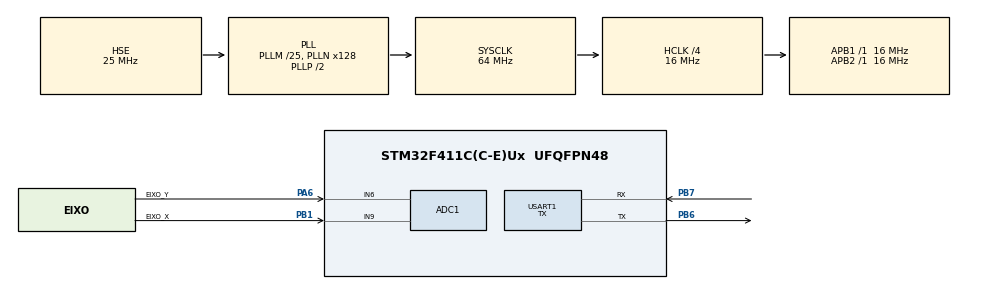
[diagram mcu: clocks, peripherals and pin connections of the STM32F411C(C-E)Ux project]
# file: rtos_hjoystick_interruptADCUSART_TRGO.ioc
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ADC1.Channel-0\#ChannelRegularConversion=ADC_CHANNEL_9
ADC1.Channel-1\#ChannelRegularConversion=ADC_CHANNEL_6
ADC1.ExternalTrigConv=ADC_EXTERNALTRIGCONV_T3_TRGO
ADC1.NbrOfConversion=2
ADC1.NbrOfConversionFlag=1
ADC1.Rank-0\#ChannelRegularConversion=1
ADC1.Rank-1\#ChannelRegularConversion=2
ADC1.SamplingTime-0\#ChannelRegularConversion=ADC_SAMPLETIME_112CYCLES
ADC1.SamplingTime-1\#ChannelRegularConversion=ADC_SAMPLETIME_112CYCLES
ADC1.master=1
FREERTOS.Events01=adcEvent,Dynamic,NULL;usartEvent,Dynamic,NULL
FREERTOS.Queues01=sampleQueue,16,SamplePair_t,0,Dynamic,NULL,NULL
FREERTOS.Tasks01=adcTask,24,128,AdcTask,Default,NULL,Dynamic,NULL,NULL;usartTask,8,128,UsartTask,Default,NULL,Dynamic,NULL,NULL
FREERTOS.configUSE_NEWLIB_REENTRANT=1
Mcu.Family=STM32F4
Mcu.Name=STM32F411C(C-E)Ux
Mcu.Package=UFQFPN48
NVIC.ADC_IRQn=true\:5\:0\:false\:false\:true\:true\:true\:true\:true
NVIC.PriorityGroup=NVIC_PRIORITYGROUP_4
NVIC.TIM2_IRQn=true\:15\:0\:false\:false\:true\:false\:false\:true\:true
NVIC.TimeBase=TIM2_IRQn
NVIC.TimeBaseIP=TIM2
NVIC.USART1_IRQn=true\:5\:0\:false\:false\:true\:true\:true\:true\:true
PA13.Mode=Serial_Wire
PA13.Signal=SYS_JTMS-SWDIO
PA14.Mode=Serial_Wire
PA14.Signal=SYS_JTCK-SWCLK
PA6.GPIO_Label=EIXO_Y
PA6.Signal=ADCx_IN6
PB1.GPIO_Label=EIXO_X
PB1.Signal=ADCx_IN9
PB6.Mode=Asynchronous
PB6.Signal=USART1_TX
PB7.Mode=Asynchronous
PB7.Signal=USART1_RX
PH0\ -\ OSC_IN.Mode=HSE-External-Oscillator
PH0\ -\ OSC_IN.Signal=RCC_OSC_IN
PH1\ -\ OSC_OUT.Mode=HSE-External-Oscillator
PH1\ -\ OSC_OUT.Signal=RCC_OSC_OUT
ProjectManager.HeapSize=0x200
ProjectManager.StackSize=0x400
ProjectManager.TargetToolchain=STM32CubeIDE
RCC.48MHZClocksFreq_Value=32000000
RCC.AHBCLKDivider=RCC_SYSCLK_DIV4
RCC.AHBFreq_Value=16000000
RCC.APB1Freq_Value=16000000
RCC.APB1TimFreq_Value=16000000
RCC.APB2Freq_Value=16000000
RCC.APB2TimFreq_Value=16000000
RCC.CortexFreq_Value=16000000
RCC.HCLKFreq_Value=16000000
RCC.HSE_VALUE=25000000
RCC.HSI_VALUE=16000000
RCC.LSE_VALUE=32768
RCC.PLLM=25
RCC.PLLN=128
RCC.PLLSourceVirtual=RCC_PLLSOURCE_HSE
RCC.SYSCLKFreq_VALUE=64000000
RCC.SYSCLKSource=RCC_SYSCLKSOURCE_PLLCLK
RCC.VCOOutputFreq_Value=128000000
SH.ADCx_IN6.0=ADC1_IN6,IN6
SH.ADCx_IN9.0=ADC1_IN9,IN9
TIM3.Period=99
TIM3.Prescaler=15999
TIM3.TIM_MasterOutputTrigger=TIM_TRGO_UPDATE
USART1.Mode=MODE_TX
USART1.VirtualMode=VM_ASYNC
VP_FREERTOS_VS_CMSIS_V2.Mode=CMSIS_V2
VP_SYS_VS_tim2.Mode=TIM2
VP_TIM3_VS_ClockSourceINT.Mode=Internal
board=custom

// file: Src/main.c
/* USER CODE BEGIN Header */
/**
  ******************************************************************************
  * @file           : main.c
  * @brief          : Este projeto é uma versão RTOS do hjoystick_interruptADCUSART_TRGO.
  * 				Arquivo principal da aplicação embarcada baseada em FreeRTOS
  * 				com aquisição ADC e comunicação UART.
  * @author			: Wu Shin Ting
  * @date			: 20/03/2026
  ******************************************************************************
  * @attention
  *
  * Copyright (c) 2026 STMicroelectronics.
  * All rights reserved.
  *
  * This software is licensed under terms that can be found in the LICENSE file
  * in the root directory of this software component.
  * If no LICENSE file comes with this software, it is provided AS-IS.
  *
  ******************************************************************************
  * @section overview Visão Geral
  *
  * Este projeto implementa um sistema embarcado baseado em RTOS para aquisição periódica
  * de sinais analógicos utilizando o ADC, seguido de processamento e transmissão dos dados via USART.
  *
  * A arquitetura é baseada no modelo produtor-consumidor:
  * - O ADC (via interrupção) atua como produtor de dados
  * - Uma task RTOS processa e encaminha os dados para uma fila
  * - Outra task consome os dados e realiza a transmissão via UART
  *
  * O sistema utiliza interrupções e comunicação assíncrona para garantir eficiência,
  * evitando bloqueios e reduzindo uso de CPU.
  *
  * @section user_code Código Implementado Manualmente
  *
  * As principais partes implementadas manualmente incluem:
  *
  * - Callback de conversão ADC (@c HAL_ADC_ConvCpltCallback):
  *   - Alterna dinamicamente entre os canais 6 e 9
  *   - Armazena amostras
  *   - Sinaliza eventos para sincronização com tasks
  *
  * - Callback de transmissão UART (@c HAL_UART_TxCpltCallback):
  *   - Indica término de envio
  *   - Libera fluxo para nova transmissão
  *
  * - Tasks do FreeRTOS:
  *   - @c AdcTask:
  *     - Inicializa ADC e TIM3
  *     - Aguarda evento de conversão
  *     - Envia amostras para fila
  *
  *   - @c UsartTask:
  *     - Consome dados da fila
  *     - Converte valores em representação ASCII (barra)
  *     - Realiza transmissão não bloqueante via UART
  *
  * - Mecanismos de sincronização:
  *   - Event Flags para ADC e UART
  *   - Fila RTOS para comunicação entre tasks
  *
  * @section mental_model Modelo Mental do Sistema
  *
  * O sistema pode ser entendido como um pipeline reativo orientado a eventos:
  *
  * @code
  *        TIM3 (hardware trigger)
  *                 │
  *                 ▼
  *         ADC (scan 2 canais)
  *                 │
  *                 ▼
  *     Interrupt (EOC - cada conversão)
  *                 │
  *                 ▼
  *   HAL_ADC_ConvCpltCallback (ISR)
  *       ├── Alterna canal (6 ↔ 9)
  *       ├── Armazena amostra parcial
  *       └── Sinaliza evento (quando necessário)
  *                 │
  *                 ▼
  *            AdcTask
  *       ├── Lê amostra completa
  *       └── Envia para fila
  *                 │
  *                 ▼
  *           sampleQueue
  *                 │
  *                 ▼
  *           UsartTask
  *       ├── Formata dados (ASCII bar)
  *       └── Transmite via UART (IT)
  *                 │
  *                 ▼
  *   HAL_UART_TxCpltCallback (ISR)
  *       └── Libera próxima transmissão
  * @endcode
  *
  * Características importantes:
  * - Totalmente não bloqueante
  * - Orientado a interrupções
  * - Separação clara entre aquisição e comunicação
  *
  * @section cube_config Configuração no CubeMX
  *
  * A configuração do sistema foi realizada utilizando o STM32CubeMX com os seguintes pontos:
  *
  * - ADC:
  *   - Modo scan habilitado
  *   - Conversão de 2 canais:
  *     - IN6 (ex: eixo Y)
  *     - IN9 (ex: eixo X)
  *   - Interrupção de fim de conversão (EOC) habilitada para cada conversão individual
  *
  * - Trigger:
  *   - Disparo externo por hardware via TIM3 (TRGO)
  *   - Conversões ocorrem periodicamente sem intervenção da CPU
  *
  * - Inicialização:
  *   - O ADC é iniciado apenas uma vez com:
  *     @code
  *     HAL_ADC_Start_IT(&hadc1);
  *     @endcode
  *
  *   - Após isso, o TIM3 controla continuamente o início das conversões
  *
  * - Timer (TIM3):
  *   - Configurado como fonte de trigger do ADC
  *   - Define a frequência de amostragem do sistema
  *
  * - UART:
  *   - Operando em modo interrupção (@c HAL_UART_Transmit_IT)
  *
  *
  * @note
  * - O uso de interrupções e RTOS permite alta eficiência e escalabilidade
  * - O sistema evita polling e bloqueios ativos
  *
  * @warning
  * - Código em callbacks deve ser rápido (executa em contexto de interrupção)
  * - A sincronização entre tasks depende corretamente das event flags
  */
/* USER CODE END Header */
#include "main.h"
#include "cmsis_os.h"
#include "adc.h"
#include "tim.h"
#include "usart.h"
#include "gpio.h"

/* USER CODE BEGIN PV */
SamplePair_t amostra;		/**< par de sinais (x,y) amostrados por ADC */
volatile uint8_t adc_channel = 9;  /**< Canal ADC atualmente em conversão (começa com PB1) */
/* USER CODE END PV */

void SystemClock_Config(void);
void MX_FREERTOS_Init(void);
/* USER CODE BEGIN PFP */
void setaAdcEventFlag ();   /**< seta flag de adcEvent */
void setaUsartEventFlag (); /**< seta flag de usartEvent */
void le_amostras();         /**< le par de sinais amostrados nos canais IN9 e IN6 */
/* USER CODE END PFP */

int main(void)
{

  /* MCU Configuration--------------------------------------------------------*/

  /* Reset of all peripherals, Initializes the Flash interface and the Systick. */
  HAL_Init();

  /* Configure the system clock */
  SystemClock_Config();

  /* Initialize all configured peripherals */
  MX_GPIO_Init();
  MX_ADC1_Init();
  MX_TIM3_Init();
  MX_USART1_UART_Init();

  /* Init scheduler */
  osKernelInitialize();  /* Call init function for freertos objects (in cmsis_os2.c) */
  MX_FREERTOS_Init();

  /* Start scheduler */
  osKernelStart();

  /* We should never get here as control is now taken by the scheduler */

  /* Infinite loop */
  while (1)
  {

  }
}

void SystemClock_Config(void)
{
  RCC_OscInitTypeDef RCC_OscInitStruct = {0};
  RCC_ClkInitTypeDef RCC_ClkInitStruct = {0};

  /** Configure the main internal regulator output voltage
  */
  __HAL_RCC_PWR_CLK_ENABLE();
  __HAL_PWR_VOLTAGESCALING_CONFIG(PWR_REGULATOR_VOLTAGE_SCALE1);

  /** Initializes the RCC Oscillators according to the specified parameters
  * in the RCC_OscInitTypeDef structure.
  */
  RCC_OscInitStruct.OscillatorType = RCC_OSCILLATORTYPE_HSE;
  RCC_OscInitStruct.HSEState = RCC_HSE_ON;
  RCC_OscInitStruct.PLL.PLLState = RCC_PLL_ON;
  RCC_OscInitStruct.PLL.PLLSource = RCC_PLLSOURCE_HSE;
  RCC_OscInitStruct.PLL.PLLM = 25;
  RCC_OscInitStruct.PLL.PLLN = 128;
  RCC_OscInitStruct.PLL.PLLP = RCC_PLLP_DIV2;
  RCC_OscInitStruct.PLL.PLLQ = 4;
  if (HAL_RCC_OscConfig(&RCC_OscInitStruct) != HAL_OK)
  {
    Error_Handler();
  }

  /** Initializes the CPU, AHB and APB buses clocks
  */
  RCC_ClkInitStruct.ClockType = RCC_CLOCKTYPE_HCLK|RCC_CLOCKTYPE_SYSCLK
                              |RCC_CLOCKTYPE_PCLK1|RCC_CLOCKTYPE_PCLK2;
  RCC_ClkInitStruct.SYSCLKSource = RCC_SYSCLKSOURCE_PLLCLK;
  RCC_ClkInitStruct.AHBCLKDivider = RCC_SYSCLK_DIV4;
  RCC_ClkInitStruct.APB1CLKDivider = RCC_HCLK_DIV1;
  RCC_ClkInitStruct.APB2CLKDivider = RCC_HCLK_DIV1;

  if (HAL_RCC_ClockConfig(&RCC_ClkInitStruct, FLASH_LATENCY_0) != HAL_OK)
  {
    Error_Handler();
  }
}

/* USER CODE BEGIN 4 */
/**
  * @brief Callback de término de conversão ADC. Esta função é chamada automaticamente pela HAL
  * ao término de cada conversão ADC em modo interrupção.
  *
  * O comportamento implementado alterna dinamicamente entre os canais:
  * - ADC_CHANNEL_6 (eixo Y)
  * - ADC_CHANNEL_9 (eixo X)
  *
  * Funcionamento:
  * - Armazena a amostra atual
  * - Reconfigura o próximo canal
  * - Ao completar o par (ch6 + ch9):
  *   - envia os dados para a fila RTOS
  *   - sinaliza a task via event flag
  *
  * @param hadc Ponteiro para a estrutura do ADC
  * @retval None
  *
  * @note
  * - A função deve ser rápida (executa em contexto de interrupção)
  * - Não realiza bloqueios
  * - Utiliza comunicação assíncrona via fila
  */
void HAL_ADC_ConvCpltCallback(ADC_HandleTypeDef* hadc)
{
    if(hadc->Instance == ADC1)
    {
        /* Alterna entre os canais 6 (EIXO_Y) e 9 (EIXO_X) */
        if(adc_channel == 6)
        {
            amostra.ch6 = HAL_ADC_GetValue(hadc);  /**< Lê o valor convertido */

            setaAdcEventFlag();

            adc_channel = 9;
        }
        else
        {
            amostra.ch9 = HAL_ADC_GetValue(hadc);  /**< Lê o valor convertido */

            adc_channel = 6;
        }
    }
}

/**
 * @brief Callback de término de transmissão UART (modo interrupção).
 *
 * Esta função é chamada automaticamente pela HAL ao final de uma transmissão
 * iniciada com @c HAL_UART_Transmit_IT().
 *
 * @details
 * O callback é utilizado para sinalizar que o periférico USART concluiu o envio
 * completo do buffer, permitindo que o sistema:
 * - Libere o canal de transmissão
 * - Sincronize tasks dependentes
 * - Inicie uma nova transmissão com segurança
 *
 * No contexto desta aplicação:
 * - Verifica se a interrupção pertence à USART1
 * - Sinaliza a conclusão da transmissão através de uma event flag RTOS
 *
 * Fluxo típico:
 * @code
 * UsartTask
 *    └── HAL_UART_Transmit_IT()
 *            └── (envio via ISR interna da HAL)
 *                    └── HAL_UART_TxCpltCallback()
 *                            └── setaUsartEventFlag()
 *                                    └── Libera próxima transmissão
 * @endcode
 *
 * @param phuart Ponteiro para a estrutura de controle da UART que gerou o evento
 * @retval None
 *
 * @note
 * - Executa em contexto de interrupção (ISR)
 * - Deve ser rápida e não bloqueante
 * - Não deve conter chamadas que possam bloquear (ex: delays, filas com espera)
 *
 * @warning
 * - Caso múltiplas UARTs sejam utilizadas, é essencial validar @c phuart->Instance
 *   para evitar interferência entre periféricos
 *
 * @see HAL_UART_Transmit_IT
 * @see setaUsartEventFlag
 */
void HAL_UART_TxCpltCallback (UART_HandleTypeDef *phuart)
{
    if (phuart->Instance == USART1)  // garante que é a UART correta
    {
        setaUsartEventFlag ();
    }
}

/**
 * @brief Copia a última amostra ADC adquirida para uma estrutura fornecida.
 *
 * @details
 * Esta função realiza a leitura da última amostra disponível, armazenada na
 * variável global @c amostra, e copia seus valores para a estrutura apontada
 * por @p a.
 *
 * A estrutura @c SamplePair_t contém os valores correspondentes aos canais:
 * - @c ch6 → Canal ADC IN6 (ex: eixo Y)
 * - @c ch9 → Canal ADC IN9 (ex: eixo X)
 *
 * Esta função é utilizada para desacoplar o acesso à variável global,
 * permitindo que outras partes do sistema obtenham os dados de forma
 * controlada e organizada.
 *
 * @param[out] a Ponteiro para a estrutura que receberá os valores da amostra
 * @retval None
 *
 * @note
 * - A função realiza apenas cópia de dados (sem bloqueio)
 * - Pode ser chamada em contexto de task
 *
 * @warning
 * - Não há proteção contra condição de corrida (race condition):
 *   a variável global @c amostra pode ser atualizada por uma ISR
 *   (@c HAL_ADC_ConvCpltCallback) durante a cópia
 * - Caso consistência total seja necessária, deve-se utilizar mecanismos
 *   de sincronização (ex: desabilitar interrupções temporariamente ou usar mutex)
 *
 * @see HAL_ADC_ConvCpltCallback
 * @see SamplePair_t
 */
void le_amostra (SamplePair_t *a)
{
    a->ch6 = amostra.ch6;
    a->ch9 = amostra.ch9;
}

/* USER CODE END 4 */

void HAL_TIM_PeriodElapsedCallback(TIM_HandleTypeDef *htim)
{
  if (htim->Instance == TIM2)
  {
    HAL_IncTick();
  }
}

void Error_Handler(void)
{
  __disable_irq();
  while (1)
  {
  }
}

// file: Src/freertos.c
/* USER CODE BEGIN Header */
/**
  ******************************************************************************
  * @file freertos.c
  * @brief Implementação da lógica RTOS com aquisição ADC e transmissão UART.
  * @author Wu Shin Ting
  * @date  20/03/2026
  ******************************************************************************
  * @attention
  *
  * Copyright (c) 2026 STMicroelectronics.
  * All rights reserved.
  *
  * This software is licensed under terms that can be found in the LICENSE file
  * in the root directory of this software component.
  * If no LICENSE file comes with this software, it is provided AS-IS.
  *
  ******************************************************************************
  * @details
  * Este arquivo implementa a arquitetura baseada em RTOS do sistema, utilizando CMSIS-RTOS v2
  * sobre FreeRTOS para organizar a execução concorrente e a comunicação entre os módulos.
  * O sistema segue o padrão produtor-consumidor, no qual a aquisição de dados e a transmissão
  * são desacopladas por meio de mecanismos de sincronização e filas.
  *
  * A tarefa @c AdcTask atua como produtora de dados. Ela é responsável por inicializar o ADC
  * em modo interrupção e iniciar o temporizador que gera o trigger de conversão. Após isso,
  * permanece bloqueada aguardando a sinalização de término de conversão através de uma event flag.
  * Quando liberada, a task lê a última amostra consolidada (par de canais) e a envia para uma
  * fila RTOS, permitindo que o processamento subsequente ocorra de forma assíncrona.
  *
  * A tarefa @c UsartTask atua como consumidora. Ela permanece bloqueada aguardando dados na fila.
  * Ao receber uma nova amostra, converte os valores digitais do ADC em uma representação visual
  * baseada em barras ASCII, onde a posição de um marcador indica a magnitude do sinal. Em seguida,
  * realiza a transmissão dos dados via UART utilizando modo não bloqueante com interrupção.
  * Após iniciar a transmissão, a task aguarda a confirmação de término por meio de uma event flag,
  * garantindo que não haja concorrência no uso do periférico de comunicação.
  *
  * O sistema utiliza callbacks de interrupção da HAL para integrar eventos de hardware ao fluxo
  * do RTOS. O callback de conversão do ADC sinaliza a conclusão de uma conversão e aciona uma
  * event flag que libera a AdcTask. Já o callback de término de transmissão UART sinaliza que o
  * envio foi concluído, liberando a UsartTask para uma nova operação. Esses callbacks executam
  * em contexto de interrupção e são mantidos curtos, delegando o processamento mais complexo
  * para as tasks.
  *
  * A comunicação entre tarefas é realizada por meio de uma fila RTOS, que permite transferir
  * estruturas contendo pares de amostras ADC de forma segura e desacoplada. Já a sincronização
  * entre interrupções e tarefas é feita por meio de event flags, evitando o uso de polling e
  * garantindo eficiência no uso da CPU. O projeto não utiliza mutexes explicitamente, pois os
  * recursos compartilhados são acessados de forma controlada por contexto único ou por meio de
  * sincronização implícita do fluxo.
  *
  * O fluxo de dados do sistema inicia no disparo periódico do ADC por hardware, seguido pelas
  * interrupções de conversão que alimentam o pipeline de processamento. As tasks então assumem
  * o controle no contexto do RTOS, realizando o transporte e a apresentação dos dados. Essa
  * abordagem resulta em um sistema reativo, não bloqueante e eficiente, com clara separação
  * entre aquisição, processamento e comunicação.
  *
  * @note
  * O sistema é orientado a eventos e mantém as tasks bloqueadas sempre que possível,
  * reduzindo o uso de CPU.
  *
  * @warning
  * A integridade dos dados depende da correta sincronização entre callbacks e tarefas;
  * modificações no fluxo devem preservar essa relação.
*/
/* USER CODE END Header */

#include "FreeRTOS.h"
#include "task.h"
#include "main.h"
#include "cmsis_os.h"

/* USER CODE BEGIN Includes */
#include "string.h"
#include "adc.h"
#include "usart.h"
#include "tim.h"
/* USER CODE END Includes */

/* USER CODE BEGIN PD */
#define BAR_WIDTH   40   /**< Largura da barra ASCII */
#define ADC_MAX     4095 /**< Valor máximo do ADC (12 bits) */
/* USER CODE END PD */

/* USER CODE BEGIN Variables */
uint8_t tx_buffer[100];  /**< buffer de transmissão */
SamplePair_t sample;
/* USER CODE END Variables */
/* Definitions for adcTask */
osThreadId_t adcTaskHandle;
const osThreadAttr_t adcTask_attributes = {
  .name = "adcTask",
  .stack_size = 128 * 4,
  .priority = (osPriority_t) osPriorityNormal,
};
/* Definitions for usartTask */
osThreadId_t usartTaskHandle;
const osThreadAttr_t usartTask_attributes = {
  .name = "usartTask",
  .stack_size = 128 * 4,
  .priority = (osPriority_t) osPriorityLow,
};
/* Definitions for sampleQueue */
osMessageQueueId_t sampleQueueHandle;
const osMessageQueueAttr_t sampleQueue_attributes = {
  .name = "sampleQueue"
};
/* Definitions for adcEvent */
osEventFlagsId_t adcEventHandle;
const osEventFlagsAttr_t adcEvent_attributes = {
  .name = "adcEvent"
};
/* Definitions for usartEvent */
osEventFlagsId_t usartEventHandle;
const osEventFlagsAttr_t usartEvent_attributes = {
  .name = "usartEvent"
};

/* USER CODE BEGIN FunctionPrototypes */
void le_amostra (SamplePair_t *a);

/* USER CODE END FunctionPrototypes */

void AdcTask(void *argument);
void UsartTask(void *argument);

void MX_FREERTOS_Init(void); /* (MISRA C 2004 rule 8.1) */

void MX_FREERTOS_Init(void) {

  /* Create the queue(s) */
  /* creation of sampleQueue */
  sampleQueueHandle = osMessageQueueNew (16, sizeof(SamplePair_t), &sampleQueue_attributes);

  /* Create the thread(s) */
  /* creation of adcTask */
  adcTaskHandle = osThreadNew(AdcTask, NULL, &adcTask_attributes);

  /* creation of usartTask */
  usartTaskHandle = osThreadNew(UsartTask, NULL, &usartTask_attributes);

  /* Create the event(s) */
  /* creation of adcEvent */
  adcEventHandle = osEventFlagsNew(&adcEvent_attributes);

  /* creation of usartEvent */
  usartEventHandle = osEventFlagsNew(&usartEvent_attributes);

}

/* USER CODE BEGIN Header_AdcTask */
/**
 * @brief Task responsável pela aquisição e envio de amostras ADC.
 *
 * @details
 * Esta task atua como produtora no modelo produtor-consumidor, sendo responsável
 * por intermediar a aquisição de dados via ADC (realizada em contexto de interrupção)
 * e o envio dessas amostras para processamento posterior por outras tasks.
 *
 * Na inicialização, a task:
 * - Inicia o ADC em modo interrupção com @c HAL_ADC_Start_IT()
 * - Inicia o temporizador (@c TIM3), responsável por gerar o trigger periódico
 *   de conversão do ADC via hardware
 *
 * Após a inicialização, a task entra em um loop infinito onde:
 *
 * 1. Permanece bloqueada aguardando a sinalização de término de conversão ADC,
 *    através da event flag @c adcEventHandle.
 *
 * 2. Ao ser liberada (evento gerado pela ISR @c HAL_ADC_ConvCpltCallback):
 *    - Lê a última amostra disponível (par de canais) através da função @c le_amostra()
 *    - Envia a amostra para a fila RTOS (@c sampleQueueHandle)
 *
 * A comunicação com a fila é feita de forma não bloqueante, permitindo que a task
 * retorne rapidamente ao estado de espera.
 *
 * Fluxo resumido:
 * @code
 * ADC ISR (HAL_ADC_ConvCpltCallback)
 *     └── setaAdcEventFlag()
 *             └── AdcTask desbloqueada
 *                     ├── le_amostra()
 *                     └── osMessageQueuePut()
 * @endcode
 *
 * @param argument Parâmetro da task (não utilizado)
 * @retval None
 *
 * @note
 * - A task permanece bloqueada a maior parte do tempo, garantindo eficiência
 * - O disparo do ADC é controlado por hardware (TIM3), não por software
 * - A função @c le_amostra() realiza cópia da amostra global
 *
 * @warning
 * - A leitura da amostra não é protegida contra condição de corrida com a ISR
 * - Caso a fila esteja cheia, a amostra pode ser descartada (envio não bloqueante)
 *
 * @see HAL_ADC_ConvCpltCallback
 * @see le_amostra
 * @see osMessageQueuePut
 */
/* USER CODE END Header_AdcTask */
void AdcTask(void *argument)
{
  /* USER CODE BEGIN AdcTask */
  /**< Reinicia a conversão em modo interrupção */
  HAL_ADC_Start_IT(&hadc1);

  HAL_TIM_Base_Start(&htim3);

  /* Infinite loop */
  for(;;)
  {
	  osEventFlagsWait(adcEventHandle, 0x01, osFlagsWaitAny, osWaitForever);

      /* Envio não bloqueante para fila tratada por uma tarefa */
	  SamplePair_t amostra;

	  le_amostra (&amostra);

      (void)osMessageQueuePut(sampleQueueHandle, &amostra, 0U, 0U);

  }
  /* USER CODE END AdcTask */
}

/* USER CODE BEGIN Header_UsartTask */
/**
  * @brief Task responsável pelo consumo e transmissão de amostras via USART.
  *
  * Esta task implementa o papel de consumidora no padrão produtor-consumidor,
  * recebendo pares de amostras ADC a partir de uma fila RTOS e convertendo-os
  * em uma representação textual para transmissão via UART.
  *
  * @details
  * O funcionamento segue o fluxo:
  *
  * 1. A task bloqueia aguardando dados na fila @c sampleQueueHandle.
  * 2. Ao receber uma nova amostra (@c SamplePair_t):
  *    - Converte os valores ADC em posições relativas dentro de uma barra ASCII.
  *    - Constrói uma string no formato:
  *      @code
  *      X: [   o     ]  Y: [      o ]
  *      @endcode
  *    - Transmite o buffer via UART utilizando modo não bloqueante.
  *
  * A visualização utiliza uma barra de tamanho fixo (@c BAR_WIDTH), onde a
  * posição do caractere 'o' representa a magnitude do sinal em cada eixo:
  * - Canal IN9 → eixo X
  * - Canal IN6 → eixo Y
  *
  * @param argument Parâmetro da task (não utilizado)
  * @retval None
  *
  * @note
  * - A task permanece bloqueada em @c osMessageQueueGet(), garantindo uso
  *   eficiente da CPU (sem polling).
  * - A transmissão UART é realizada via @c HAL_UART_Transmit_IT(), evitando
  *   bloqueio da execução.
  * - O buffer @c tx_buffer deve possuir tamanho suficiente para acomodar
  *   toda a string formatada.
  * - Depois do envio, a task permanece bloqueada em @c osEventFlagsWait, garantindo
  *   que não haja uso concorrente do canal TX.
  *
  * @warning
  * - O uso de @c strlen((char *)tx_buffer)+1 assume que o buffer está completamente
  *   preenchido; inconsistências na construção da string podem gerar envio
  *   de dados inválidos.
  * - Não há proteção explícita contra acesso concorrente ao @c tx_buffer;
  *   esta task deve ser a única responsável por sua manipulação.
  *
  * @see HAL_UART_TxCpltCallback
  * @see osMessageQueueGet
  * @see HAL_ADC_ConvCpltCallback
  */
/* USER CODE END Header_UsartTask */
void UsartTask(void *argument)
{
  /* USER CODE BEGIN UsartTask */
	/* Infinite loop */
	for(;;)
	{
		if (osMessageQueueGet(sampleQueueHandle, &sample, NULL, osWaitForever) == osOK)
		{
			// agora 'sample' contém os dados retirados da fila
			/**
			 * @brief Inicializa prefixo do buffer de transmissão.
			 *
			 * Formato esperado:
			 *   "X: [........]  Y: [........]"
			 */
			strcpy ((char *)tx_buffer, "\rX: [");
			/**
			 * @brief Converte valores ADC em posição de barra.
			 *
			 * Escala o valor bruto do ADC para a largura da barra ASCII.
			 */
			uint8_t bar_x_pos = (sample.ch9 * BAR_WIDTH) / ADC_MAX;
			uint8_t bar_y_pos = (sample.ch6 * BAR_WIDTH) / ADC_MAX;

			uint8_t i;
			/**
			 * ================= Construção da Barra X =================
			 */
			for (i = 0; i < BAR_WIDTH; i++)
				tx_buffer[5+i] = (i == bar_x_pos ? 'o' : ' ');

			tx_buffer[5+i] = '\0';
			strcat ((char *)tx_buffer, "]  Y: [");

			/**
			 * ================= Construção da Barra Y =================
			 *
			 * Offset fixo baseado no layout da string.
			 */
			for (i = 0; i < BAR_WIDTH; i++)
				tx_buffer[52+i] = (i == bar_y_pos ? 'o' : ' ');

			tx_buffer[52+i] = '\0';
			strcat ((char *)tx_buffer, "]");

			/**
			 * @brief Transmissão não bloqueante via interrupção.
			 *
			 * Funcionamento interno da HAL_UART_Transmit_IT():
			 *
			 *  1. Habilita interrupção TXE (TXEIE no CR1).
			 *  2. Carrega primeiro byte no registrador DR.
			 *  3. A cada flag TXE, ISR envia próximo byte.
			 *  4. Ao finalizar buffer, desabilita TXEIE.
			 *  5. Quando TC é detectado, chama:
			 *       HAL_UART_TxCpltCallback()
			 *
			 * Vantagem:
			 *  - CPU permanece livre durante transmissão.
			 *  - Arquitetura totalmente não bloqueante.
			 */
			if (HAL_UART_Transmit_IT(&huart1, tx_buffer, strlen((char *)tx_buffer) + 1)) {
				osEventFlagsWait(usartEventHandle, 0x01, osFlagsWaitAny, osWaitForever);
			}
		}

	}
  /* USER CODE END UsartTask */
}

/* USER CODE BEGIN Application */
/**
  * @brief Retorna o handle da fila de amostras.
  *
  * Permite que módulos independentes (como callbacks) acessem a fila
  * responsável pela comunicação entre produtor (ADC) e consumidor.
  *
  * @retval osMessageQueueId_t Handle da fila de amostras do ADC
  */
osMessageQueueId_t get_sampleQueueHandle(void) {
	return sampleQueueHandle;
}

/**
  * @brief Sinaliza evento de término de aquisição ADC.
  *
  * Utilizada para sincronizar a conclusão de um par de conversões
  * com a task responsável por iniciar um novo ciclo.
  *
  * @retval None
  */
void setaAdcEventFlag () {
    osEventFlagsSet(adcEventHandle, 0x01);
}

/**
  * @brief Sinaliza evento de término de transmissão USART.
  *
  * Utilizada para sincronizar a conclusão de um par de conversões
  * com a task responsável por iniciar um novo ciclo.
  *
  * @retval None
  */
void setaUsartEventFlag () {
    osEventFlagsSet(usartEventHandle, 0x01);
}

/* USER CODE END Application */
